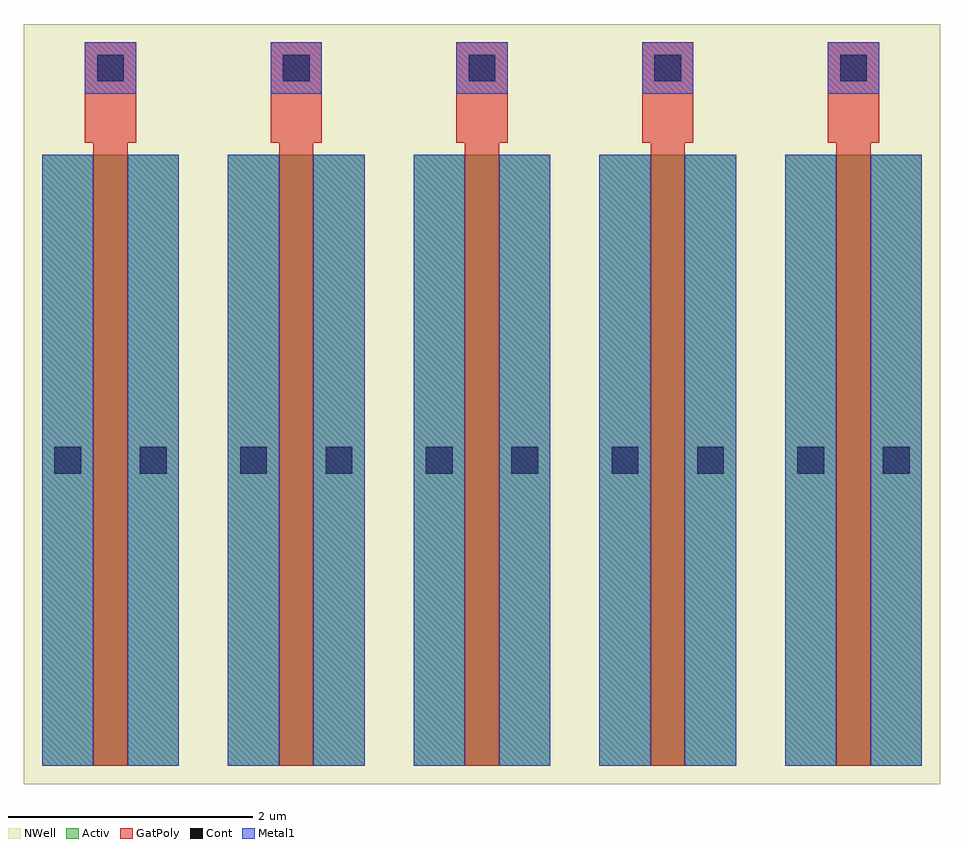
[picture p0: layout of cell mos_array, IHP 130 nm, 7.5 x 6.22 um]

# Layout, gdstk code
import gdstk
lib = gdstk.Library(unit=1e-6, precision=1e-09)
def R(c, l, rs):  # rectangles x0, y0, x1, y1
    for r in rs: c.add(gdstk.rectangle(r[:2], r[2:], *l))
def A(c, l, x, y, w, h, nx, ny, dx, dy):  # array of equal rectangles
    R(c, l, [(x+i*dx, y+j*dy, x+i*dx+w, y+j*dy+h) for i in range(nx) for j in range(ny)])
Activ = (1, 0)
GatPoly = (5, 0)
Cont = (6, 0)
Metal1 = (8, 0)
NWell = (31, 0)

mos_array = lib.new_cell('mos_array')
A(mos_array, Activ, 0, 0, 1.12, 5, 5, 1, 1.52, 0)
A(mos_array, GatPoly, 0.42, 0, 0.28, 5, 5, 1, 1.52, 0)
A(mos_array, GatPoly, 0.42, 5, 0.28, 0.1, 5, 1, 1.52, 0)
A(mos_array, GatPoly, 0.35, 5.1, 0.42, 0.82, 5, 1, 1.52, 0)
A(mos_array, Cont, 0.45, 5.6, 0.22, 0.22, 5, 1, 1.52, 0)
R(mos_array, Cont, [(0.1,2.39,0.32,2.61), (0.8,2.39,1.02,2.61), (1.62,2.39,1.84,2.61), (2.32,2.39,2.54,2.61), (3.14,2.39,3.36,2.61), (3.84,2.39,4.06,2.61), (4.66,2.39,4.88,2.61), (5.36,2.39,5.58,2.61), (6.18,2.39,6.4,2.61), (6.88,2.39,7.1,2.61)])
A(mos_array, Metal1, 0.35, 5.5, 0.42, 0.42, 5, 1, 1.52, 0)
R(mos_array, Metal1, [(0,0,0.42,5), (0.7,0,1.12,5), (1.52,0,1.94,5), (2.22,0,2.64,5), (3.04,0,3.46,5), (3.74,0,4.16,5), (4.56,0,4.98,5), (5.26,0,5.68,5), (6.08,0,6.5,5), (6.78,0,7.2,5)])
R(mos_array, NWell, [(-0.15,-0.15,7.35,6.07)])

lib.write_gds('mos_array.gds')
